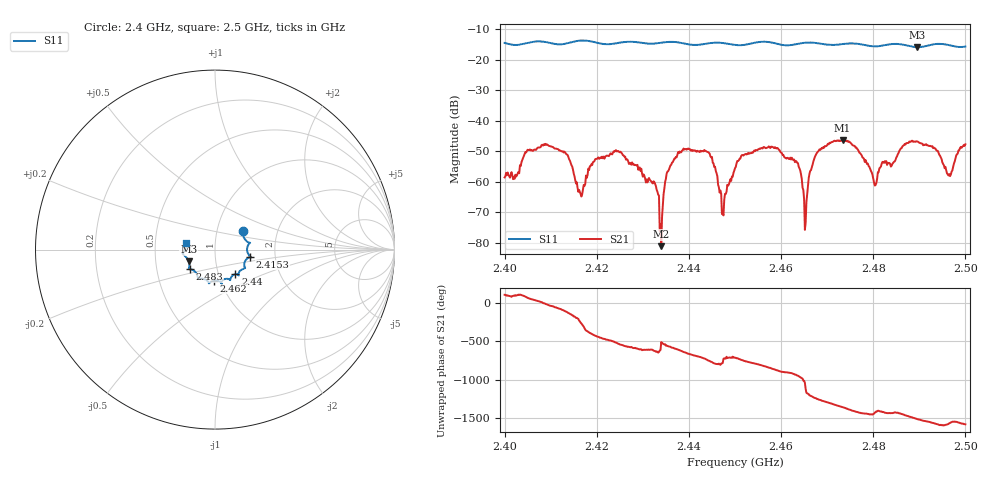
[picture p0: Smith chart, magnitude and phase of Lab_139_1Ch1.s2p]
# Hz S RI R 50
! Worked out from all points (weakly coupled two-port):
!   601 points, 2.4 GHz to 2.5 GHz, reference 50 ohm
!   highest |S21| = -46.23 dB at 2.4733 GHz (marker M1); lowest = -81.1 dB at 2.434 GHz (marker M2)
!   lowest |S11| = -15.9 dB at 2.4895 GHz (marker M3), VSWR 1.38, Z = 37 - j4.99 ohm
!   |S11| at or under -10 dB: start of sweep to end of sweep
!   S12 and S22 are empty: the file has one direction only
!   S11 on the Smith chart (normalised r, x): 2.4 GHz: 1.33, +0.29; 2.4153 GHz: 1.48, -0.12; 2.44 GHz: 1.20, -0.34; 2.462 GHz: 0.93, -0.33; 2.483 GHz: 0.74, -0.17; 2.5 GHz: 0.72, +0.06
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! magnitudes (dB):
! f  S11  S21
! 2.4 GHz  -14.5  -58.5
! 2.409 GHz  -14.2  -47.9
! 2.4153 GHz  -14.0  -59.5
! 2.4167 GHz  -13.7  -64.8
! 2.4245 GHz  -14.5  -50.0
! 2.4333 GHz  -14.6  -64.2
! 2.434 GHz  -14.4  -81.1
! 2.4357 GHz  -14.2  -56.0
! 2.44 GHz  -15.0  -49.2
! 2.4445 GHz  -14.6  -50.8
! 2.4475 GHz  -14.6  -71.0
! 2.45 GHz  -15.1  -55.5
! 2.462 GHz  -15.2  -52.1
! 2.4652 GHz  -14.4  -75.7
! 2.4667 GHz  -14.4  -55.3
! 2.4733 GHz  -14.9  -46.2
! 2.4803 GHz  -15.6  -61.2
! 2.483 GHz  -15.1  -54.4
! 2.4833 GHz  -15.0  -53.9
! 2.4895 GHz  -15.9  -46.7
! 2.4965 GHz  -15.2  -57.4
! 2.5 GHz  -15.7  -47.7
